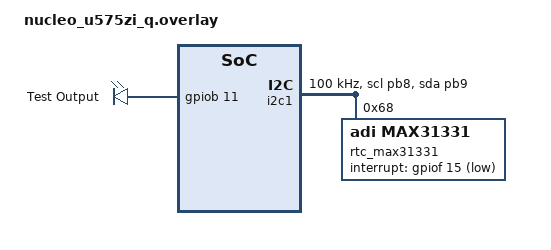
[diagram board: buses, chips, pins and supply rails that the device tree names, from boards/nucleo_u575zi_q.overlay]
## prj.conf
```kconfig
# Enable Peripheral
CONFIG_RTC=y
CONFIG_RTC_ALARM=y
CONFIG_I2C=y
# CONFIG_SHELL=y
# CONFIG_I2C_SHELL=y
CONFIG_RTC_MAX31331=y
CONFIG_RTC_MAX31331_INTERRUPT_OWN_THREAD=y
CONFIG_RTC_MAX31331_TIMESTAMPING=y
```

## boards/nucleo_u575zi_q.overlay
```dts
/*
 * Copyright (c) 2025 Analog Devices Inc.
 *
 * SPDX-License-Identifier: Apache-2.0
 */


/ {

    aliases {
        outgpio = &test_out1;
    };

    test_out: test_out{
        compatible = "gpio-leds";

        test_out1:out1{
            gpios = <&gpiob 11 GPIO_ACTIVE_HIGH>;
            label = "Test Output";
        };
    };
};


&i2c1 {
	pinctrl-0 = <&i2c1_scl_pb8 &i2c1_sda_pb9>;
	pinctrl-names = "default";
	status = "okay";
	clock-frequency = <100000>;

    rtc_max31331: rtc_max31331@68{
        status = "okay";
        compatible = "adi,max31331";
        reg = <0x68>;
        interrupt-gpios = <&gpiof 15 GPIO_ACTIVE_LOW>;

        /*Timestamping Options*/
        ts-enable;
        ts-vbat-enable;
        ts-overwrite;
        ts-din;
        ts-power-supply-switch;
        din-en-io;
    };
 };
```

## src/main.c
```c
/*
 * Copyright (c) 2025, Francis Roi Manabat
 *
 * SPDX-License-Identifier: Apache-2.0
 */

#include <zephyr/kernel.h>
#include <zephyr/device.h>
#include <zephyr/drivers/rtc.h>
#include <zephyr/drivers/rtc/rtc_max31331.h>
#include <zephyr/sys/util.h>

#define RTC_DEVICE_NODE DT_NODELABEL(rtc_max31331)
#define PBUTTON_NODE    DT_NODELABEL(user_button)
#define TEST_OUT        DT_ALIAS(outgpio)
static const struct device *rtc_max31331 = DEVICE_DT_GET(RTC_DEVICE_NODE);
static const struct gpio_dt_spec pbutton = GPIO_DT_SPEC_GET(PBUTTON_NODE, gpios);
static const struct gpio_dt_spec test_out = GPIO_DT_SPEC_GET(TEST_OUT, gpios);

#define TASK1_STACK_SIZE 1024ul
static K_THREAD_STACK_DEFINE(thread_stack, TASK1_STACK_SIZE);
static struct k_thread thread_id;

#define TASK2_STACK_SIZE 1024ul
static K_THREAD_STACK_DEFINE(din_stack, TASK2_STACK_SIZE);
static struct k_thread din_thread_id;
int count = 0;

struct rtc_time timestamps[4];

static void alarm_callback(const struct device *dev, int alarm_id, void *user_data)
{
	printk("Alarm %d triggered!\n", alarm_id);
}

static void thread_entry(void *p1, void *p2, void *p3)
{
	while (1) {
		k_sleep(K_MSEC(1000));
		int ret = 0;
		struct rtc_time time;
		ret = rtc_get_time(rtc_max31331, &time);
		if (ret) {
			printk("Error getting time: %d\n", ret);
			continue;
		}
		printk("Thread: Current Date and Time: %04d-%02d-%02d %02d:%02d:%02d\n",
		       time.tm_year + 2000, time.tm_mon + 1, time.tm_mday, time.tm_hour,
		       time.tm_min, time.tm_sec);
	}
}

static void din_callback(const struct device *dev, struct gpio_callback *cb, uint32_t pins)
{
	printk("DIN Event Detected!\n");
}

static void din_test(void *p1, void *p2, void *p3)
{
	int ret = 0;
	while (1) {
		static int last_state = 0;
		static int debounce_counter = 0;
		static int count = 0;

		int current_state = gpio_pin_get_dt(&pbutton);

		if (current_state != last_state) {
			debounce_counter++;
			if (debounce_counter >= 5) { // Debounce threshold
				last_state = current_state;
				debounce_counter = 0;

				if (current_state) {
					gpio_pin_set_dt(&test_out, 0);
					count++;
					printk("Button pressed %d times\n", count);
				} else {
					gpio_pin_set_dt(&test_out, 1);
				}
			}
		} else {
			debounce_counter = 0;
		}

		if (count >= 4) {
			for (int i = 0; i < 4; i++) {
				uint8_t flags = 0;
				struct rtc_time ts;
				ret = rtc_max31331_get_timestamps(rtc_max31331, &ts, i, &flags);
				if (ret) {
					printk("Error getting timestamp %d: %d\n", i, ret);
					continue;
				}
				timestamps[i] = ts;
			}
			printk("Timestamps retrieved\n");
			printk("Timestamps 0: %04d-%02d-%02d %02d:%02d:%02d\n",
			       timestamps[0].tm_year + 2000, timestamps[0].tm_mon + 1,
			       timestamps[0].tm_mday, timestamps[0].tm_hour, timestamps[0].tm_min,
			       timestamps[0].tm_sec);
			printk("Timestamps 1: %04d-%02d-%02d %02d:%02d:%02d\n",
			       timestamps[1].tm_year + 2000, timestamps[1].tm_mon + 1,
			       timestamps[1].tm_mday, timestamps[1].tm_hour, timestamps[1].tm_min,
			       timestamps[1].tm_sec);
			printk("Timestamps 2: %04d-%02d-%02d %02d:%02d:%02d\n",
			       timestamps[2].tm_year + 2000, timestamps[2].tm_mon + 1,
			       timestamps[2].tm_mday, timestamps[2].tm_hour, timestamps[2].tm_min,
			       timestamps[2].tm_sec);
			printk("Timestamps 3: %04d-%02d-%02d %02d:%02d:%02d\n",
			       timestamps[3].tm_year + 2000, timestamps[3].tm_mon + 1,
			       timestamps[3].tm_mday, timestamps[3].tm_hour, timestamps[3].tm_min,
			       timestamps[3].tm_sec);
			count = 0;
		}
		k_sleep(K_MSEC(50));
	}
}

int main(void)
{
	/* Check if the RTC is ready */
	if (!device_is_ready(rtc_max31331)) {
		printk("Device is not ready\n");
		return 0;
	}

	if (!gpio_is_ready_dt(&pbutton)) {
		printk("Button device not ready\n");
		return 0;
	}

	if (!gpio_is_ready_dt(&test_out)) {
		printk("Test output device not ready\n");
		return 0;
	}

	printk("Device is ready: RTC_MAX31331\n");
	int ret = 0;
	uint8_t val = 0;

	ret = gpio_pin_configure_dt(&pbutton, GPIO_INPUT);
	if (ret) {
		printk("Error configuring button pin: %d\n", ret);
		return ret;
	}

	ret = gpio_pin_configure_dt(&test_out, GPIO_OUTPUT_HIGH);
	if (ret) {
		printk("Error configuring test output pin: %d\n", ret);
		return ret;
	}

	ret = max31331_reg_read(rtc_max31331, 0x02, &val, 1);

	printk("Reset Register: 0x%02X\n", val);
	k_sleep(K_MSEC(2000));

	struct rtc_time time;

	// Set time to 2024-06-01 12:00:00
	time.tm_year = 2024 - 2000; // Year since 1900
	time.tm_mon = 6 - 1;        // Month [0-11]
	time.tm_mday = 1;           // Day of the month [1-31]
	time.tm_hour = 12;          // Hours [0-23]
	time.tm_min = 0;            // Minutes [0-59]
	time.tm_sec = 40;           // Seconds [0-59]
	time.tm_wday = 6;           // Day of the week [0-6] (0 = Sunday)
	time.tm_yday = -1;          // Day of the year [0-365] (not used)
	time.tm_isdst = -1;         // Daylight saving time flag (not used)
	time.tm_nsec = 0;           // Nanoseconds (not used)
	ret = rtc_set_time(rtc_max31331, &time);
	if (ret) {
		printk("Error setting time: %d\n", ret);
		return ret;
	}
	printk("Time set to: %04d-%02d-%02d %02d:%02d:%02d\n", time.tm_year + 2000, time.tm_mon + 1,
	       time.tm_mday, time.tm_hour, time.tm_min, time.tm_sec);
	k_sleep(K_MSEC(1000));
	// /* Function to get and print the current date and time from the RTC */
	ret = rtc_get_time(rtc_max31331, &time);
	if (ret) {
		printk("Error getting time: %d\n", ret);
		return ret;
	}
	printk("Current Date and Time: %04d-%02d-%02d %02d:%02d:%02d\n", time.tm_year + 2000,
	       time.tm_mon + 1, time.tm_mday, time.tm_hour, time.tm_min, time.tm_sec);

	ret = rtc_alarm_set_callback(rtc_max31331, 1, alarm_callback, NULL);
	if (ret) {
		printk("Error setting alarm callback: %d\n", ret);
		return ret;
	}

	struct rtc_time alarm_time;
	alarm_time.tm_year = 2024 - 2000; // Year since 1900
	alarm_time.tm_mon = 6 - 1;        // Month [0-11]
	alarm_time.tm_mday = 1;           // Day of the month [1-31]
	alarm_time.tm_hour = 12;          // Hours [0-23]
	alarm_time.tm_wday = NULL;
	alarm_time.tm_min = 0; // Minutes [0-59]
	alarm_time.tm_sec = 50;
	ret = rtc_alarm_set_time(rtc_max31331, 1, RTC_ALARM_TIME_MASK_SECOND, &alarm_time);

	if (ret) {
		printk("Error setting alarm: %d\n", ret);
		return ret;
	}

	ret = max31331_reg_read(rtc_max31331, 0x01, &val, 1);
	if (ret) {
		printk("Error reading control register: %d\n", ret);
		return ret;
	}

	printk("Control Register after setting alarm: 0x%02X\n", val);

	ret = max31331_reg_read(rtc_max31331, 0x0F, &val, 1); // Enable the alarm interrupt
	if (ret) {
		printk("Error reading interrupt register: %d\n", ret);
		return ret;
	}
	printk("Seconds alarm1 reg: 0x%02X\n", val);
	uint16_t mask;

	ret = rtc_alarm_get_time(rtc_max31331, 1, &mask, &alarm_time);
	if (ret) {
		printk("Error getting alarm time: %d\n", ret);
		return ret;
	}

	printk("Alarm set to trigger at: %04d-%02d-%02d %02d:%02d:%02d\n",
	       alarm_time.tm_year + 2000, alarm_time.tm_mon + 1, alarm_time.tm_mday,
	       alarm_time.tm_hour, alarm_time.tm_min, alarm_time.tm_sec);

	ret = rtc_alarm_set_callback(rtc_max31331, 1, alarm_callback, NULL);

	ret = rtc_max31331_set_timestamp_callback(rtc_max31331, din_callback, NULL);
	if (ret) {
		printk("Error setting DIN callback: %d\n", ret);
		return ret;
	}

	k_thread_create(&thread_id, thread_stack, K_THREAD_STACK_SIZEOF(thread_stack), thread_entry,
			NULL, NULL, NULL, 7, 0, K_NO_WAIT);

	// DIN test thread
	k_thread_create(&din_thread_id, din_stack, K_THREAD_STACK_SIZEOF(din_stack), din_test, NULL,
			NULL, NULL, 7, 0, K_NO_WAIT);

	k_thread_start(&thread_id);
	k_thread_start(&din_thread_id);
	return 0;
}
```
